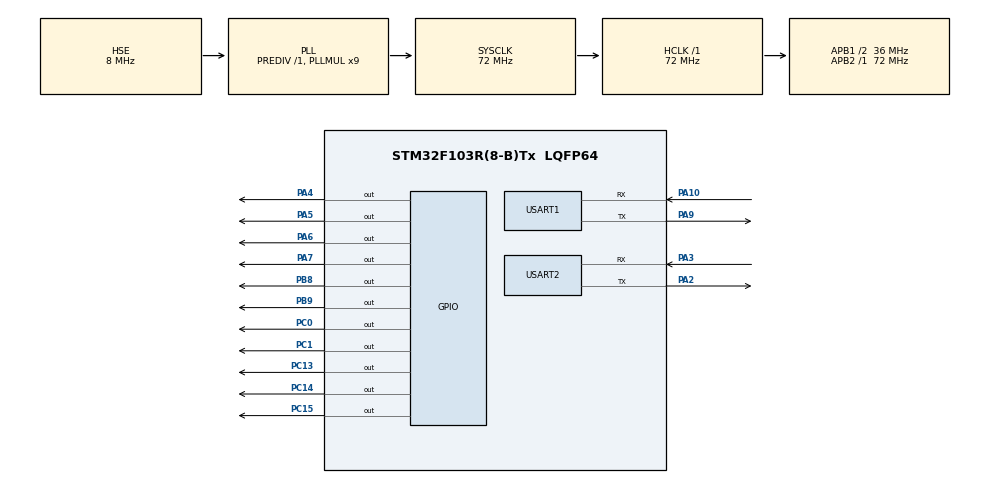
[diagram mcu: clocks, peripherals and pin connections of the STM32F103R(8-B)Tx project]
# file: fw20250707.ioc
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Mcu.Family=STM32F1
Mcu.Name=STM32F103R(8-B)Tx
Mcu.Package=LQFP64
NVIC.PriorityGroup=NVIC_PRIORITYGROUP_4
NVIC.TIM2_IRQn=true\:0\:0\:false\:false\:true\:true\:true\:true
NVIC.TIM3_IRQn=true\:0\:0\:false\:false\:true\:true\:true\:true
NVIC.TIM4_IRQn=true\:0\:0\:false\:false\:true\:true\:true\:true
PA10.Mode=Asynchronous
PA10.Signal=USART1_RX
PA13.Mode=Serial_Wire
PA13.Signal=SYS_JTMS-SWDIO
PA14.Mode=Serial_Wire
PA14.Signal=SYS_JTCK-SWCLK
PA15.Signal=SYS_JTDI
PA2.Mode=Asynchronous
PA2.Signal=USART2_TX
PA3.Mode=Asynchronous
PA3.Signal=USART2_RX
PA4.Signal=GPIO_Output
PA5.Signal=GPIO_Output
PA6.Signal=GPIO_Output
PA7.Signal=GPIO_Output
PA9.Mode=Asynchronous
PA9.Signal=USART1_TX
PB3.Signal=SYS_JTDO-TRACESWO
PB4.Signal=SYS_NJTRST
PB8.Signal=GPIO_Output
PB9.Signal=GPIO_Output
PC0.Signal=GPIO_Output
PC1.Signal=GPIO_Output
PC13-TAMPER-RTC.Signal=GPIO_Output
PC14-OSC32_IN.Signal=GPIO_Output
PC15-OSC32_OUT.Signal=GPIO_Output
PD0-OSC_IN.Mode=HSE-External-Oscillator
PD0-OSC_IN.Signal=RCC_OSC_IN
PD1-OSC_OUT.Mode=HSE-External-Oscillator
PD1-OSC_OUT.Signal=RCC_OSC_OUT
ProjectManager.HeapSize=0x200
ProjectManager.StackSize=0x400
ProjectManager.TargetToolchain=STM32CubeIDE
RCC.AHBFreq_Value=72000000
RCC.APB1CLKDivider=RCC_HCLK_DIV2
RCC.APB1Freq_Value=36000000
RCC.APB1TimFreq_Value=72000000
RCC.APB2Freq_Value=72000000
RCC.APB2TimFreq_Value=72000000
RCC.HCLKFreq_Value=72000000
RCC.PLLMUL=RCC_PLL_MUL9
RCC.PLLSourceVirtual=RCC_PLLSOURCE_HSE
RCC.SYSCLKFreq_VALUE=72000000
RCC.SYSCLKSource=RCC_SYSCLKSOURCE_PLLCLK
RCC.USBFreq_Value=72000000
TIM1.AutoReloadPreload=TIM_AUTORELOAD_PRELOAD_ENABLE
TIM1.Period=0xffff-1
TIM1.Prescaler=72-1
TIM2.AutoReloadPreload=TIM_AUTORELOAD_PRELOAD_ENABLE
TIM2.Period=386
TIM2.Prescaler=72-1
TIM3.AutoReloadPreload=TIM_AUTORELOAD_PRELOAD_ENABLE
TIM3.Period=10000
TIM3.Prescaler=7200-1
TIM4.AutoReloadPreload=TIM_AUTORELOAD_PRELOAD_ENABLE
TIM4.Period=3860
TIM4.Prescaler=72-1
USART1.VirtualMode=VM_ASYNC
USART2.VirtualMode=VM_ASYNC
VP_TIM1_VS_ClockSourceINT.Mode=Internal
VP_TIM2_VS_ClockSourceINT.Mode=Internal
VP_TIM3_VS_ClockSourceINT.Mode=Internal
VP_TIM4_VS_ClockSourceINT.Mode=Internal
board=custom

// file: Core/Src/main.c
/* USER CODE BEGIN Header */
/**
  ******************************************************************************
  * @file           : main.c
  * @brief          : Main program body
  ******************************************************************************
  * @attention
  *
  * Copyright (c) 2025 STMicroelectronics.
  * All rights reserved.
  *
  * This software is licensed under terms that can be found in the LICENSE file
  * in the root directory of this software component.
  * If no LICENSE file comes with this software, it is provided AS-IS.
  *
  ******************************************************************************
  */
#include "stdio.h"
#include "stdlib.h"
#include <string.h>
#include <stdio.h>
#define ROWS 10
#define COLS 10

/* USER CODE END Header */
#include "main.h"
#include "tim.h"
#include "usart.h"
#include "gpio.h"

void SystemClock_Config(void);
/* USER CODE BEGIN PFP */
// ROW control GPIO pins (Active Low)
/*nt16_t PULL_ROW_PINS[ROWS] = {
    GPIO_PIN_0, GPIO_PIN_1, GPIO_PIN_2, GPIO_PIN_3, GPIO_PIN_4,
    GPIO_PIN_5, GPIO_PIN_6, GPIO_PIN_7, GPIO_PIN_8, GPIO_PIN_9
};*/
#define PULL_ROW_GPIO_Port 				GPIOA			//wg

// Shift Register pins
#define LATCH_PIN       					GPIO_PIN_0	//wg
#define CLK_PIN      						GPIO_PIN_1	//wg
#define SER_RED_Pin    						GPIO_PIN_13	//wg
#define SER_GREEN_Pin  						GPIO_PIN_14	//wg
#define SER_BLUE_Pin   						GPIO_PIN_15	//wg

void delay_us(uint16_t time);

uint8_t buffer[256];

// Arrow RGB pattern (Red head, green shaft, blue background)
uint8_t BlueMatrix[ROWS][COLS] = {
  {0,0,0,0,0,0,0,0,0,0},
  {0,0,0,0,0,0,0,0,0,0},
  {0,0,0,0,0,0,0,0,0,0},
  {0,0,0,0,0,0,0,0,0,0},
  {0,0,0,0,0,0,0,0,0,0},
  {0,0,0,0,0,0,0,0,0,0},
  {0,0,0,0,0,0,0,0,0,0},
  {0,0,0,0,0,0,0,0,0,0},
  {0,0,0,0,0,0,0,0,0,0},
  {0,0,0,0,0,0,0,0,0,0}
};
uint8_t GreenMatrix[ROWS][COLS] = {	 //green real wg
  {0,0,0,0,0,0,0,0,0,0},
  {0,0,0,0,0,0,0,0,0,0},
  {0,0,0,0,0,0,0,0,0,0},
  {0,0,0,0,0,0,0,0,0,0},
  {0,0,0,0,0,0,0,0,0,0},
  {0,0,0,0,0,0,0,0,0,0},
  {0,0,0,0,0,0,0,0,0,0},
  {0,0,0,0,0,0,0,0,0,0},
  {0,0,0,0,0,0,0,0,0,0},
  {0,0,0,0,0,0,0,0,0,0}
};
#if 0 //arrow
uint8_t RedMatrix[ROWS][COLS] = {  //red real wg
  {0,0,1,1,1,1,1,1,1,1},
  {0,1,1,1,1,1,1,1,1,1},
  {1,1,1,1,1,1,1,1,1,1},
  {0,0,0,0,1,1,1,1,1,1},
  {0,0,0,1,1,1,1,1,1,1},
  {0,0,1,1,1,1,1,1,1,1},
  {0,1,1,1,1,1,0,1,1,1},
  {1,1,1,1,1,0,0,1,1,1},
  {0,0,1,1,0,0,0,1,1,0},
  {0,0,1,0,0,0,0,1,0,0}
};
#else
uint8_t RedMatrix[ROWS][COLS] = {	// x
  {1,0,0,0,0,0,0,0,0,1},
  {0,1,0,0,0,0,0,0,1,0},
  {0,0,1,0,0,0,0,1,0,0},
  {0,0,0,1,0,0,1,0,0,0},
  {0,0,0,0,1,1,0,0,0,0},
  {0,0,0,0,1,1,0,0,0,0},
  {0,0,0,1,0,0,1,0,0,0},
  {0,0,1,0,0,0,0,1,0,0},
  {0,1,0,0,0,0,0,0,1,0},
  {1,0,0,0,0,0,0,0,0,1}
};
#endif

void sendRGB(uint8_t Blue, uint8_t Green, uint8_t Red) {
	HAL_GPIO_WritePin(GPIOC, SER_RED_Pin, 		(Blue & 0x01) ? GPIO_PIN_SET : GPIO_PIN_RESET);
	HAL_GPIO_WritePin(GPIOC, SER_GREEN_Pin, 	(Green & 0x01) ? GPIO_PIN_SET : GPIO_PIN_RESET);
	HAL_GPIO_WritePin(GPIOC, SER_BLUE_Pin, 	(Red & 0x01) ? GPIO_PIN_SET : GPIO_PIN_RESET);
	HAL_GPIO_WritePin(GPIOC, CLK_PIN, GPIO_PIN_SET);		// ?�프???�럭 ??
	for (volatile int d = 0; d < 10; d++);  // 약간의 지연
	HAL_GPIO_WritePin(GPIOC, CLK_PIN, GPIO_PIN_RESET);		// ?�프???�럭 ??
	for (volatile int d = 0; d < 10; d++);  // 약간의 지연
}
void selectRow(uint8_t value){	// 3비트 주소�?74HC238???�정?�는 ?�수
	HAL_GPIO_WritePin(GPIOA, GPIO_PIN_4, (value & 0x01) ? GPIO_PIN_SET : GPIO_PIN_RESET);
	HAL_GPIO_WritePin(GPIOA, GPIO_PIN_5, (value & 0x02) ? GPIO_PIN_SET : GPIO_PIN_RESET);
	HAL_GPIO_WritePin(GPIOA, GPIO_PIN_6, (value & 0x04) ? GPIO_PIN_SET : GPIO_PIN_RESET);
	HAL_GPIO_WritePin(GPIOA, GPIO_PIN_7, (value & 0x08) ? GPIO_PIN_SET : GPIO_PIN_RESET);
}
/*void displayMatrix() {
    for (int row = 0; row < ROWS; row++) {
        selectRow(row);
		  HAL_GPIO_WritePin(GPIOC, LATCH_PIN, GPIO_PIN_RESET);	 // ?�치 ??
        for (int col = 0; col < COLS; col++)
            sendRGB(BlueMatrix[row][col], GreenMatrix[row][col], RedMatrix[row][col]);
		  HAL_GPIO_WritePin(GPIOC, LATCH_PIN, GPIO_PIN_SET);		 // ?�치 ??
		  //HAL_Delay(10);
    }
	 //HAL_Delay(10);
}*/
static uint8_t row_num = 0;
//static uint8_t rotate = 0;
//static uint8_t col_num = 0;

void displayMatrix_386us() {
     for (int col = 0; col < COLS; col++)
         sendRGB(BlueMatrix[row_num%ROWS][col], GreenMatrix[row_num%ROWS][col], RedMatrix[row_num%ROWS][col]);
	  HAL_GPIO_WritePin(GPIOC, LATCH_PIN, GPIO_PIN_SET);		 // ?�치 ??
	  for (volatile int d = 0; d < 10; d++);  // 약간의 지연
	  HAL_GPIO_WritePin(GPIOC, LATCH_PIN, GPIO_PIN_RESET);	 // ?�치 ??
	  for (volatile int d = 0; d < 10; d++);  // 약간의 지연
}
/*void clearMatrix() {
    for (int r = 0; r < ROWS; r++) {
        for (int c = 0; c < COLS; c++) {
            BlueMatrix[r][c] = 0;
            GreenMatrix[r][c] = 0;
            RedMatrix[r][c] = 0x01; // Blue background
        }
    }
}*/
/* USER CODE END PFP */

/* USER CODE BEGIN 0 */
//HAL_UART
#if 0
void delay_us(uint16_t time) {
	__HAL_TIM_SET_COUNTER(&htim1, 0);              // ?�?�머�?0?�로 초기??
	while((__HAL_TIM_GET_COUNTER(&htim1))<time);   // ?�정???�간까�? ?��?
}
#endif
void HAL_TIM_PeriodElapsedCallback(TIM_HandleTypeDef *htim){
	static int num = 0;

	if(htim->Instance == TIM2){		//368 usec
		//displayMatrix_386us();
	}
	if(htim->Instance == TIM3){	//1second
		//HAL_GPIO_TogglePin(GPIOB, GPIO_PIN_8);
		//HAL_GPIO_TogglePin(GPIOB, GPIO_PIN_9);
		sprintf((char *)buffer, "%d \r\n", num++);
		HAL_UART_Transmit(&huart2, buffer, strlen((char *)buffer), 100);
	}
	if(htim->Instance == TIM4){		//368 * 10 usec
		selectRow(row_num%ROWS);
		row_num++;
		HAL_GPIO_TogglePin(GPIOB, GPIO_PIN_8);
	}
}
/* USER CODE END 0 */

int main(void)
{

  /* USER CODE BEGIN 1 */

	//HAL_StatusTypeDef serial_status;

  /* USER CODE END 1 */

  /* MCU Configuration--------------------------------------------------------*/

  /* Reset of all peripherals, Initializes the Flash interface and the Systick. */
  HAL_Init();

  /* Configure the system clock */
  SystemClock_Config();

  /* Initialize all configured peripherals */
  MX_GPIO_Init();
  MX_USART2_UART_Init();
  MX_USART1_UART_Init();
  MX_TIM2_Init();
  MX_TIM3_Init();
  MX_TIM4_Init();
  MX_TIM1_Init();
  /* USER CODE BEGIN 2 */
  //HAL_TIM_Base_Start_IT(&htim1);
	HAL_TIM_Base_Start_IT(&htim2);
	HAL_TIM_Base_Start_IT(&htim3);
	HAL_TIM_Base_Start_IT(&htim4);
	//sprintf((char *)buffer, "Hello, World!\r\n");
  /* USER CODE END 2 */

  /* Infinite loop */
  /* USER CODE BEGIN WHILE */
  //HAL_GPIO_WritePin()
	displayMatrix_386us();

  while (1){
  	//wglee test at home
	//HAL_GPIO_TogglePin(GPIOB, GPIO_PIN_8);
	//HAL_GPIO_TogglePin(GPIOB, GPIO_PIN_9);
	//sprintf((char *)buffer, "Hello, World!\r\n");
	//HAL_UART_Transmit(&huart2, buffer, strlen((char *)buffer), 100);
	//HAL_Delay(500);
	//delay(500);
    /* USER CODE END WHILE */

  }
}

void SystemClock_Config(void)
{
  RCC_OscInitTypeDef RCC_OscInitStruct = {0};
  RCC_ClkInitTypeDef RCC_ClkInitStruct = {0};

  /** Initializes the RCC Oscillators according to the specified parameters
  * in the RCC_OscInitTypeDef structure.
  */
  RCC_OscInitStruct.OscillatorType = RCC_OSCILLATORTYPE_HSE;
  RCC_OscInitStruct.HSEState = RCC_HSE_ON;
  RCC_OscInitStruct.HSEPredivValue = RCC_HSE_PREDIV_DIV1;
  RCC_OscInitStruct.HSIState = RCC_HSI_ON;
  RCC_OscInitStruct.PLL.PLLState = RCC_PLL_ON;
  RCC_OscInitStruct.PLL.PLLSource = RCC_PLLSOURCE_HSE;
  RCC_OscInitStruct.PLL.PLLMUL = RCC_PLL_MUL9;
  if (HAL_RCC_OscConfig(&RCC_OscInitStruct) != HAL_OK)
  {
    Error_Handler();
  }

  /** Initializes the CPU, AHB and APB buses clocks
  */
  RCC_ClkInitStruct.ClockType = RCC_CLOCKTYPE_HCLK|RCC_CLOCKTYPE_SYSCLK
                              |RCC_CLOCKTYPE_PCLK1|RCC_CLOCKTYPE_PCLK2;
  RCC_ClkInitStruct.SYSCLKSource = RCC_SYSCLKSOURCE_PLLCLK;
  RCC_ClkInitStruct.AHBCLKDivider = RCC_SYSCLK_DIV1;
  RCC_ClkInitStruct.APB1CLKDivider = RCC_HCLK_DIV2;
  RCC_ClkInitStruct.APB2CLKDivider = RCC_HCLK_DIV1;

  if (HAL_RCC_ClockConfig(&RCC_ClkInitStruct, FLASH_LATENCY_2) != HAL_OK)
  {
    Error_Handler();
  }
}

void Error_Handler(void)
{
  __disable_irq();
  while (1)
  {
  }
}
